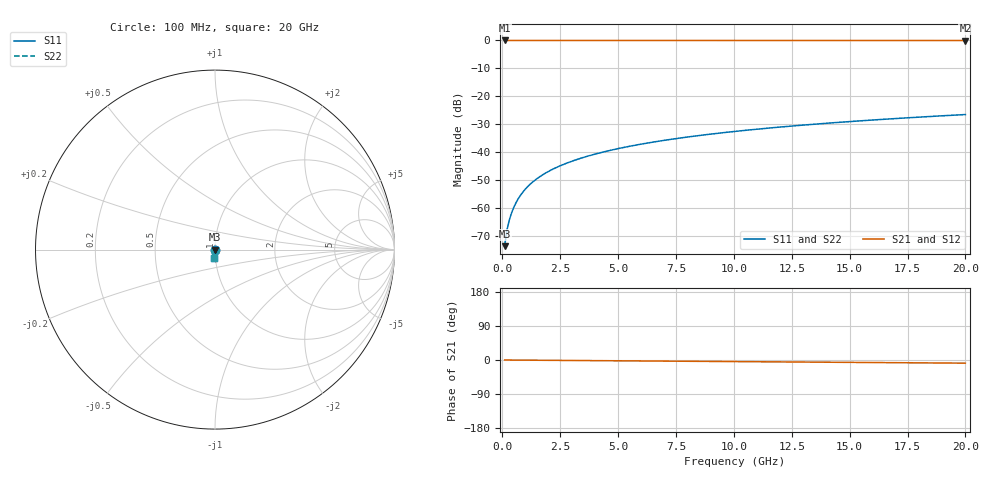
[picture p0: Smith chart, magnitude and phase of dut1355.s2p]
! Touchstone file exported from HFSS 2026.1.0
!  File:  C:/ffzhzh/LocalFiles/Ansys_Project_Files/temp_train_TSV_1355_1783195896_22436.aedt
!  Generated:  04:12:52 AM Jul  5, 2026
!  Design:  TSV
!  Project:  temp_train_TSV_1355_1783195896_22436
! Variables:
!  h_bsmrdl = 2um
!  h_ox = 20um
!  h_rdl = 5um
!  h_sub = 81.04um
!  h_tmrdl = 5um
!  h_tsv = 81.04um
!  h_via = 3um
!  l_bsmrdl = 300um
!  l_sub = 429.5um
!  l_tmrdl = 200um
!  m_sub = 200um
!  pitch = 44.13um
!  r_tsv = 14.75um
!  s_tmrdl = 10um
!  w_bsmrdl = 18um
!  w_sub = 500um
!  w_tmrdl = 12um
!  x_tsv_center1 = 206um
!  x_tsv_center2 = 524um
!  x_tsv_center3 = 736um
!  x_tsv_center4 = 1054um
!  x_tsv_center5 = 1266um
!  x_tsv_center6 = 1584um
# GHz S MA R 50.000000
! Terminal data exported
! Port[1] = TSV1_1_T1
! Port[2] = TSV1_1_T2
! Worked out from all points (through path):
!   200 points, 100 MHz to 20 GHz, reference 50 ohm
!   highest |S21| = 0.00 dB at 100 MHz (marker M1); lowest = 0.0 dB at 20 GHz (marker M2)
!   group delay of S21, straight-line fit = 1.15 ps
!   lowest |S11| = -73.7 dB at 100 MHz (marker M3), VSWR 1.00, Z = 50 - j0.019 ohm
!   |S11| at or under -10 dB: start of sweep to end of sweep
!   |S22| runs from -73.7 to -26.6 dB; largest |S21 - S12| = 5.6e-15
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0.1  0.0002056 -67.8  0.9999 -0.0  0.9999 -0.0  0.0002056 -67.8
! Gamma 0 0 0 0
! Port Impedance 50 0 50 0
0.2  0.0003964 -76.4  0.9999 -0.1  0.9999 -0.1  0.0003964 -76.4
0.3  0.0005988 -79.0  0.9999 -0.1  0.9999 -0.1  0.0005988 -79.0
0.4  0.0008104 -80.1  0.9999 -0.2  0.9999 -0.2  0.0008104 -80.1
0.5  0.001029 -80.9  0.9998 -0.2  0.9998 -0.2  0.001029 -80.9
0.7  0.001482 -82.0  0.9998 -0.3  0.9998 -0.3  0.001482 -82.0
0.8  0.001712 -82.6  0.9998 -0.3  0.9998 -0.3  0.001712 -82.6
1  0.002177 -83.5  0.9997 -0.4  0.9997 -0.4  0.002177 -83.5
1.2  0.002643 -84.3  0.9997 -0.5  0.9997 -0.5  0.002643 -84.3
1.4  0.00311 -84.9  0.9997 -0.6  0.9997 -0.6  0.00311 -84.9
1.7  0.003809 -85.7  0.9997 -0.7  0.9997 -0.7  0.003809 -85.7
2  0.004508 -86.4  0.9996 -0.8  0.9996 -0.8  0.004508 -86.4
2.7  0.006137 -87.4  0.9996 -1.1  0.9996 -1.1  0.006137 -87.4
3.5  0.008004 -88.3  0.9995 -1.5  0.9995 -1.5  0.008004 -88.3
4.2  0.009642 -88.9  0.9995 -1.8  0.9995 -1.8  0.009642 -88.9
5  0.01152 -89.4  0.9994 -2.1  0.9994 -2.1  0.01152 -89.4
6.8  0.01576 -90.6  0.9992 -2.8  0.9992 -2.8  0.01576 -90.6
8.3  0.01931 -91.4  0.9991 -3.5  0.9991 -3.5  0.01931 -91.4
10.1  0.02357 -92.3  0.999 -4.2  0.999 -4.2  0.02357 -92.3
13.4  0.03138 -94.0  0.9986 -5.6  0.9986 -5.6  0.03138 -94.0
16.7  0.03919 -95.5  0.9982 -7.0  0.9982 -7.0  0.03919 -95.5
20  0.04699 -97.0  0.9978 -8.3  0.9978 -8.3  0.04699 -97.0
